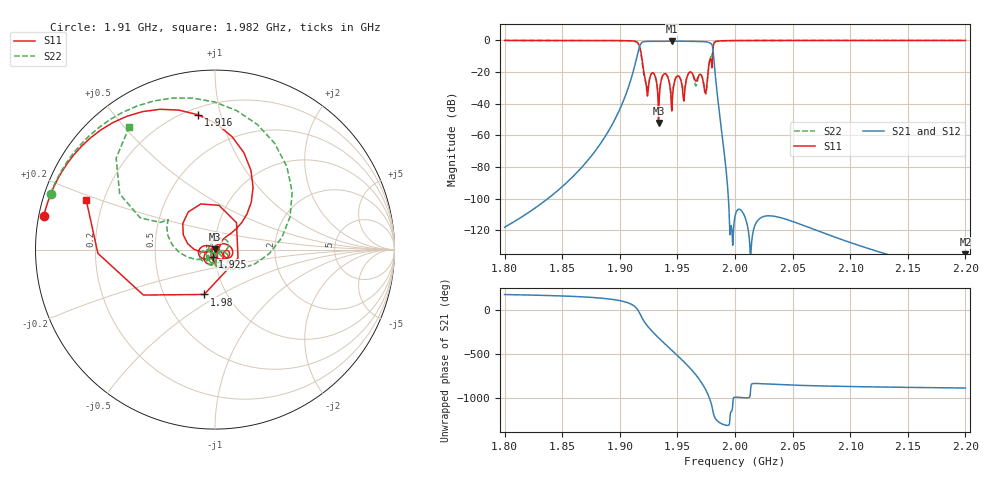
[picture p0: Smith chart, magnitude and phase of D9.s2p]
! Touchstone file exported from HFSS 2023.1.0
!  File:  E:/1.Project/CoxailF/seventhree.aedt
!  Generated:  2:35:23 %x4E0B%x5348  5%x6708 25, 2023
!  Design:  Resonator_out13
!  Project:  seventhree
!  Setup:  Setup1
!  Solution:  Sweep
! Variables:
!  Hin1 = 26mm
!  Hout = 29mm
!  L12 = 14.8mm
!  L13 = 14.75mm
!  L23 = 6.95mm
!  L34 = 12.5mm
!  L45 = 8.6mm
!  L46 = 3.8mm
!  L56 = 8.2mm
!  L67 = 12.5mm
!  L78 = 7.8mm
!  L79 = 13.5mm
!  L89 = 15.3mm
!  Rin = 5mm
!  Rin2 = 4mm
!  Rout = 15mm
!  Rport = 1.15mm
!  Rport2 = 3mm
!  Rportin = 0.5mm
!  d = 3mm
!  d01 = 2.9mm
!  d02 = 3.53mm
!  d03 = 3.66mm
!  d04 = 3.72mm
!  d05 = 3.73mm
!  d06 = 3.74mm
!  d07 = 3.672mm
!  d08 = 3.55mm
!  d09 = 2.92mm
!  d12 = 18mm
!  d12x = 15.5mm
!  d12y = 25mm
!  d23 = 18mm
!  d34 = 30mm
!  hport = 10.4mm
!  hport2 = 10.4mm
!  lport = 12mm
!  lport2 = 1mm
!  lport_2 = 12mm
!  m = 2mm
!  w12 = 12mm
!  w13 = 10mm
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# GHz S MA R 50.000000
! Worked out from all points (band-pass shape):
!   1001 points, 1.8 GHz to 2.2 GHz, reference 50 ohm
!   highest |S21| = -0.44 dB at 1.945 GHz (marker M1); lowest = -147.9 dB at 2.2 GHz (marker M2)
!   |S21| within 3 dB of the highest: 1.917 GHz to 1.98 GHz (62.95 MHz wide, 3.23 % of centre)
!   lowest |S11| = -52.1 dB at 1.934 GHz (marker M3), VSWR 1.00, Z = 49.9 + j0.206 ohm
!   |S11| at or under -10 dB: 1.919 GHz to 1.981 GHz (61.64 MHz wide, 3.16 % of centre)
!   |S22| runs from -36.7 to 0.0 dB; largest |S21 - S12| = 2.7e-11
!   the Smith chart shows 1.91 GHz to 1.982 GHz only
!   S11 on the Smith chart (normalised r, x): 1.91 GHz: 0.01, +0.10; 1.916 GHz: 0.24, +0.85; 1.925 GHz: 0.97, -0.08; 1.98 GHz: 0.79, -0.42; 1.982 GHz: 0.14, +0.18
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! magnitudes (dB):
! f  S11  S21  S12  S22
! 1.8 GHz  0.0  -118.0  -118.0  0.0
! 1.867 GHz  0.0  -80.3  -80.3  0.0
! 1.892 GHz  -0.1  -55.0  -55.0  -0.1
! 1.91 GHz  -0.2  -24.8  -24.8  -0.3
! 1.916 GHz  -2.4  -5.8  -5.8  -2.7
! 1.922 GHz  -25.7  -0.7  -0.7  -26.0
! 1.925 GHz  -27.4  -0.6  -0.6  -26.3
! 1.929 GHz  -20.7  -0.5  -0.5  -20.6
! 1.934 GHz  -52.1  -0.5  -0.5  -36.7
! 1.939 GHz  -21.0  -0.5  -0.5  -20.9
! 1.945 GHz  -44.6  -0.4  -0.4  -35.6
! 1.95 GHz  -22.7  -0.5  -0.5  -22.5
! 1.956 GHz  -38.3  -0.5  -0.5  -31.9
! 1.961 GHz  -19.9  -0.6  -0.6  -20.0
! 1.974 GHz  -33.4  -0.9  -0.9  -32.9
! 1.98 GHz  -11.8  -3.5  -3.5  -6.9
! 1.982 GHz  -2.3  -11.4  -11.4  -1.6
! 1.992 GHz  -0.2  -77.3  -77.3  -0.2
! 2 GHz  -0.1  -111.2  -111.2  -0.1
! 2.067 GHz  0.0  -118.9  -118.9  0.0
! 2.134 GHz  0.0  -135.5  -135.5  0.0
! 2.2 GHz  0.0  -147.9  -147.9  0.0
